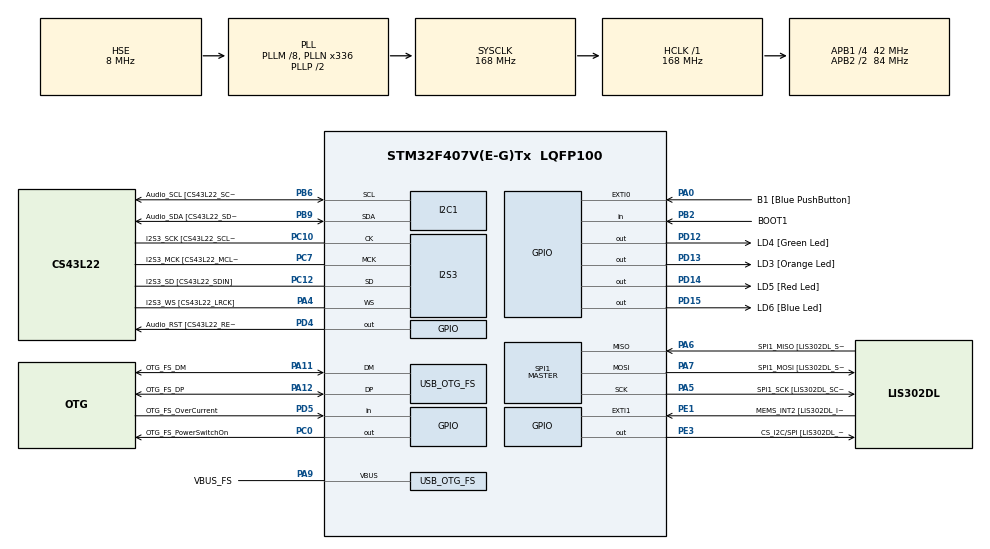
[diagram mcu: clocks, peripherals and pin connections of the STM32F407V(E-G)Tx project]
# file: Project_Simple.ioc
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I2S3.AudioFreq-Half_Duplex_Master=I2S_AUDIOFREQ_96K
I2S3.ErrorAudioFreq=-2.34 %
I2S3.ErrorAudioFreq-Half_Duplex_Master=0.8 %
I2S3.FullDuplexMode=I2S_FULLDUPLEXMODE_DISABLE
I2S3.Instance=SPI$Index
I2S3.RealAudioFreq=93.75 KHz
I2S3.RealAudioFreq-Half_Duplex_Master=96.774 KHz
I2S3.VirtualMode=I2S_MODE_MASTER
Mcu.Family=STM32F4
Mcu.Name=STM32F407V(E-G)Tx
Mcu.Package=LQFP100
NVIC.OTG_FS_IRQn=true\:0\:0\:false\:false\:true\:true\:true
NVIC.PriorityGroup=NVIC_PRIORITYGROUP_0
PA0-WKUP.GPIO_Label=B1 [Blue PushButton]
PA0-WKUP.GPIO_ModeDefaultEXTI=GPIO_MODE_EVT_RISING
PA0-WKUP.GPIO_PuPd=GPIO_NOPULL
PA0-WKUP.Signal=GPXTI0
PA10.GPIO_Label=OTG_FS_ID
PA10.GPIO_Mode=GPIO_MODE_AF_PP
PA10.GPIO_PuPd=GPIO_NOPULL
PA10.GPIO_Speed=GPIO_SPEED_FREQ_LOW
PA10.Signal=USB_OTG_FS_ID
PA11.GPIO_Label=OTG_FS_DM
PA11.GPIO_Mode=GPIO_MODE_AF_PP
PA11.GPIO_PuPd=GPIO_NOPULL
PA11.GPIO_Speed=GPIO_SPEED_FREQ_LOW
PA11.Mode=Host_Only
PA11.Signal=USB_OTG_FS_DM
PA12.GPIO_Label=OTG_FS_DP
PA12.GPIO_Mode=GPIO_MODE_AF_PP
PA12.GPIO_PuPd=GPIO_NOPULL
PA12.GPIO_Speed=GPIO_SPEED_FREQ_LOW
PA12.Mode=Host_Only
PA12.Signal=USB_OTG_FS_DP
PA13.GPIO_Label=SWDIO
PA13.Mode=Serial_Wire
PA13.Signal=SYS_JTMS-SWDIO
PA14.GPIO_Label=SWCLK
PA14.Mode=Serial_Wire
PA14.Signal=SYS_JTCK-SWCLK
PA4.GPIO_Label=I2S3_WS [CS43L22_LRCK]
PA4.GPIO_Mode=GPIO_MODE_AF_PP
PA4.GPIO_PuPd=GPIO_NOPULL
PA4.GPIO_Speed=GPIO_SPEED_FREQ_LOW
PA4.Mode=Half_Duplex_Master
PA4.Signal=I2S3_WS
PA5.GPIO_Label=SPI1_SCK [LIS302DL_SCL/SPC]
PA5.GPIO_Mode=GPIO_MODE_AF_PP
PA5.GPIO_PuPd=GPIO_NOPULL
PA5.GPIO_Speed=GPIO_SPEED_FREQ_LOW
PA5.Mode=Full_Duplex_Master
PA5.Signal=SPI1_SCK
PA6.GPIO_Label=SPI1_MISO [LIS302DL_SDO]
PA6.GPIO_Mode=GPIO_MODE_AF_PP
PA6.GPIO_PuPd=GPIO_NOPULL
PA6.GPIO_Speed=GPIO_SPEED_FREQ_LOW
PA6.Mode=Full_Duplex_Master
PA6.Signal=SPI1_MISO
PA7.GPIO_Label=SPI1_MOSI [LIS302DL_SDA/SDI/SDO]
PA7.GPIO_Mode=GPIO_MODE_AF_PP
PA7.GPIO_PuPd=GPIO_NOPULL
PA7.GPIO_Speed=GPIO_SPEED_FREQ_LOW
PA7.Mode=Full_Duplex_Master
PA7.Signal=SPI1_MOSI
PA9.GPIO_Label=VBUS_FS
PA9.GPIO_Mode=GPIO_MODE_INPUT
PA9.GPIO_PuPd=GPIO_NOPULL
PA9.Mode=Activate_VBUS
PA9.Signal=USB_OTG_FS_VBUS
PB10.GPIO_Label=CLK_IN [MP45DT02_CLK]
PB10.GPIO_Mode=GPIO_MODE_AF_PP
PB10.GPIO_PuPd=GPIO_NOPULL
PB10.GPIO_Speed=GPIO_SPEED_FREQ_LOW
PB10.Signal=I2S2_CK
PB2.GPIO_Label=BOOT1
PB2.GPIO_Mode=GPIO_MODE_INPUT
PB2.GPIO_PuPd=GPIO_NOPULL
PB2.Signal=GPIO_Input
PB3.GPIO_Label=SWO
PB3.Signal=SYS_JTDO-SWO
PB6.GPIO_Label=Audio_SCL [CS43L22_SCL]
PB6.GPIO_Mode=GPIO_MODE_AF_OD
PB6.GPIO_PuPd=GPIO_NOPULL
PB6.GPIO_Speed=GPIO_SPEED_FREQ_LOW
PB6.Mode=I2C
PB6.Signal=I2C1_SCL
PB9.GPIO_Label=Audio_SDA [CS43L22_SDA]
PB9.GPIO_Mode=GPIO_MODE_AF_OD
PB9.GPIO_PuPd=GPIO_NOPULL
PB9.GPIO_Speed=GPIO_SPEED_FREQ_LOW
PB9.Mode=I2C
PB9.Signal=I2C1_SDA
PC0.GPIO_Label=OTG_FS_PowerSwitchOn
PC0.GPIO_PuPd=GPIO_NOPULL
PC0.GPIO_Speed=GPIO_SPEED_FREQ_LOW
PC0.PinState=GPIO_PIN_SET
PC0.Signal=GPIO_Output
PC10.GPIO_Label=I2S3_SCK [CS43L22_SCLK]
PC10.GPIO_Mode=GPIO_MODE_AF_PP
PC10.GPIO_PuPd=GPIO_NOPULL
PC10.GPIO_Speed=GPIO_SPEED_FREQ_LOW
PC10.Mode=Half_Duplex_Master
PC10.Signal=I2S3_CK
PC12.GPIO_Label=I2S3_SD [CS43L22_SDIN]
PC12.GPIO_Mode=GPIO_MODE_AF_PP
PC12.GPIO_PuPd=GPIO_NOPULL
PC12.GPIO_Speed=GPIO_SPEED_FREQ_LOW
PC12.Mode=Half_Duplex_Master
PC12.Signal=I2S3_SD
PC14-OSC32_IN.GPIO_Label=PC14-OSC32_IN
PC14-OSC32_IN.Mode=LSE-External-Oscillator
PC14-OSC32_IN.Signal=RCC_OSC32_IN
PC15-OSC32_OUT.GPIO_Label=PC15-OSC32_OUT
PC15-OSC32_OUT.Mode=LSE-External-Oscillator
PC15-OSC32_OUT.Signal=RCC_OSC32_OUT
PC3.GPIO_Label=PDM_OUT [MP45DT02_DOUT]
PC3.GPIO_Mode=GPIO_MODE_AF_PP
PC3.GPIO_PuPd=GPIO_NOPULL
PC3.GPIO_Speed=GPIO_SPEED_FREQ_LOW
PC3.Signal=I2S2_SD
PC7.GPIO_Label=I2S3_MCK [CS43L22_MCLK]
PC7.GPIO_Mode=GPIO_MODE_AF_PP
PC7.GPIO_PuPd=GPIO_NOPULL
PC7.GPIO_Speed=GPIO_SPEED_FREQ_LOW
PC7.Mode=Master_Clock_Activated
PC7.Signal=I2S3_MCK
PD12.GPIO_Label=LD4 [Green Led]
PD12.GPIO_PuPd=GPIO_NOPULL
PD12.GPIO_Speed=GPIO_SPEED_FREQ_LOW
PD12.Signal=GPIO_Output
PD13.GPIO_Label=LD3 [Orange Led]
PD13.GPIO_PuPd=GPIO_NOPULL
PD13.GPIO_Speed=GPIO_SPEED_FREQ_LOW
PD13.Signal=GPIO_Output
PD14.GPIO_Label=LD5 [Red Led]
PD14.GPIO_PuPd=GPIO_NOPULL
PD14.GPIO_Speed=GPIO_SPEED_FREQ_LOW
PD14.Signal=GPIO_Output
PD15.GPIO_Label=LD6 [Blue Led]
PD15.GPIO_PuPd=GPIO_NOPULL
PD15.GPIO_Speed=GPIO_SPEED_FREQ_LOW
PD15.Signal=GPIO_Output
PD4.GPIO_Label=Audio_RST [CS43L22_RESET]
PD4.GPIO_PuPd=GPIO_NOPULL
PD4.GPIO_Speed=GPIO_SPEED_FREQ_LOW
PD4.Signal=GPIO_Output
PD5.GPIO_Label=OTG_FS_OverCurrent
PD5.GPIO_Mode=GPIO_MODE_INPUT
PD5.GPIO_PuPd=GPIO_NOPULL
PD5.Signal=GPIO_Input
PE1.GPIO_Label=MEMS_INT2 [LIS302DL_INT2]
PE1.GPIO_ModeDefaultEXTI=GPIO_MODE_EVT_RISING
PE1.GPIO_PuPd=GPIO_NOPULL
PE1.Signal=GPXTI1
PE3.GPIO_Label=CS_I2C/SPI [LIS302DL_CS_I2C/SPI]
PE3.GPIO_PuPd=GPIO_NOPULL
PE3.GPIO_Speed=GPIO_SPEED_FREQ_LOW
PE3.Signal=GPIO_Output
PH0-OSC_IN.GPIO_Label=PH0-OSC_IN
PH0-OSC_IN.Mode=HSE-External-Oscillator
PH0-OSC_IN.Signal=RCC_OSC_IN
PH1-OSC_OUT.GPIO_Label=PH1-OSC_OUT
PH1-OSC_OUT.Mode=HSE-External-Oscillator
PH1-OSC_OUT.Signal=RCC_OSC_OUT
ProjectManager.HeapSize=0x200
ProjectManager.StackSize=0x400
ProjectManager.TargetToolchain=STM32CubeIDE
RCC.48MHZClocksFreq_Value=48000000
RCC.AHBFreq_Value=168000000
RCC.APB1CLKDivider=RCC_HCLK_DIV4
RCC.APB1Freq_Value=42000000
RCC.APB1TimFreq_Value=84000000
RCC.APB2CLKDivider=RCC_HCLK_DIV2
RCC.APB2Freq_Value=84000000
RCC.APB2TimFreq_Value=168000000
RCC.CortexFreq_Value=168000000
RCC.HCLKFreq_Value=168000000
RCC.HSE_VALUE=8000000
RCC.HSI_VALUE=16000000
RCC.PLLM=8
RCC.PLLN=336
RCC.PLLQ=7
RCC.SYSCLKFreq_VALUE=168000000
RCC.SYSCLKSource=RCC_SYSCLKSOURCE_PLLCLK
RCC.VCOOutputFreq_Value=336000000
SPI1.BaudRatePrescaler-Full_Duplex_Master=SPI_BAUDRATEPRESCALER_2
SPI1.CalculateBaudRate-Full_Duplex_Master=42.0 MBits/s
SPI1.Direction=SPI_DIRECTION_2LINES
SPI1.Mode=SPI_MODE_MASTER
SPI1.Mode-Full_Duplex_Master=SPI_MODE_MASTER
SPI1.VirtualType=VM_MASTER
USB_HOST.BSP.number=1
USB_HOST.USBH_HandleTypeDef-CDC_FS=hUsbHostFS
USB_HOST.VirtualModeFS=Cdc
USB_HOST0.BSP.STBoard=false
USB_HOST0.BSP.api=Unknown
USB_HOST0.BSP.i2caddr=0
USB_HOST0.BSP.i2creg=0
USB_HOST0.BSP.instance=PC0
USB_HOST0.BSP.ip=GPIO
USB_HOST0.BSP.mode=Output
USB_HOST0.BSP.name=Drive_VBUS_FS
USB_HOST0.BSP.solution=PC0
USB_OTG_FS.VirtualMode=Host_Only
USB_OTG_FS.phy_itface=HCD_PHY_EMBEDDED
VP_USB_HOST_VS_USB_HOST_CDC_FS.Mode=CDC_FS
board=STM32F407G-DISC1

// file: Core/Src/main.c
/* USER CODE BEGIN Header */
/**
  ******************************************************************************
  * @file           : main.c
  * @brief          : Main program body
  ******************************************************************************
  * @attention
  *
  * <h2><center>&copy; Copyright (c) 2020 STMicroelectronics.
  * All rights reserved.</center></h2>
  *
  * This software component is licensed by ST under Ultimate Liberty license
  * SLA0044, the "License"; You may not use this file except in compliance with
  * the License. You may obtain a copy of the License at:
  *                             www.st.com/SLA0044
  *
  ******************************************************************************
  */
/* USER CODE END Header */

#include "main.h"
#include "usb_host.h"

I2C_HandleTypeDef hi2c1;

I2S_HandleTypeDef hi2s3;
/*### RECORDER ###*/
I2S_HandleTypeDef  hAudioInI2s;

SPI_HandleTypeDef hspi1;

void SystemClock_Config(void);
static void MX_GPIO_Init(void);
static void MX_I2C1_Init(void);
static void MX_I2S3_Init(void);
static void MX_SPI1_Init(void);
void MX_USB_HOST_Process(void);

void AudioIN_clock_config(I2S_HandleTypeDef *hi2s, uint32_t AudioFreq, void *Params);
void HAL_I2S_MspInit(I2S_HandleTypeDef *hi2s);

/* USER CODE BEGIN 0 */
uint16_t  RxBuffer[800];
void AudioIN_clock_config(I2S_HandleTypeDef *hi2s, uint32_t AudioFreq, void *Params)
{
	RCC_PeriphCLKInitTypeDef rccclkinit;
/*Enable PLLI2S clock*/
    HAL_RCCEx_GetPeriphCLKConfig(&rccclkinit);
    /* PLLI2S_VCO Input = HSE_VALUE/PLL_M = 1 Mhz */
    if ((AudioFreq & 0x7) == 0)
    {
      /* Audio frequency multiple of 8 (8/16/32/48/96/192)*/
      /* PLLI2S_VCO Output = PLLI2S_VCO Input * PLLI2SN = 192 Mhz */
      /* I2SCLK = PLLI2S_VCO Output/PLLI2SR = 192/6 = 32 Mhz */
      rccclkinit.PeriphClockSelection = RCC_PERIPHCLK_I2S;
      rccclkinit.PLLI2S.PLLI2SN = 192;
      rccclkinit.PLLI2S.PLLI2SR = 6;
      HAL_RCCEx_PeriphCLKConfig(&rccclkinit);
    }
    else
    {
      /* Other Frequency (11.025/22.500/44.100) */
      /* PLLI2S_VCO Output = PLLI2S_VCO Input * PLLI2SN = 290 Mhz */
      /* I2SCLK = PLLI2S_VCO Output/PLLI2SR = 290/2 = 145 Mhz */
      rccclkinit.PeriphClockSelection = RCC_PERIPHCLK_I2S;
      rccclkinit.PLLI2S.PLLI2SN = 290;
      rccclkinit.PLLI2S.PLLI2SR = 2;
      HAL_RCCEx_PeriphCLKConfig(&rccclkinit);
    }
}

#if 0
void HAL_I2S_MspInit(I2S_HandleTypeDef *hi2s) {

	GPIO_InitTypeDef  GPIO_InitStruct;

	//a.Enable the SPIx interface clock.
	__HAL_RCC_SPI2_CLK_ENABLE(); //clock for SPI2/I2S2 interface
	//b.I2S pins configuration:
	    //Enable the clock for the I2S GPIOs.
		__HAL_RCC_GPIOB_CLK_ENABLE();  //I2S2_CK/PB10 : is Bit clock
		//__HAL_RCC_GPIOC_CLK_ENABLE();
		//Configure these I2S pins as alternate function pull-up.
		  GPIO_InitStruct.Mode      = GPIO_MODE_AF_PP;
		  GPIO_InitStruct.Pull      = GPIO_NOPULL;
		  GPIO_InitStruct.Speed     = GPIO_SPEED_FAST;
		  // configure PB10 as I2S2_SCK pin
		  GPIO_InitStruct.Pin       = GPIO_PIN_10;
		  GPIO_InitStruct.Alternate = GPIO_AF5_SPI2;
		  HAL_GPIO_Init(GPIOB , &GPIO_InitStruct);

	//c.NVIC configuration if you need to use interrupt process (HAL_I2S_Transmit_IT() and HAL_I2S_Receive_IT() APIs).
	     //Configure the I2Sx interrupt priority.
	     //Enable the NVIC I2S IRQ handle
		  HAL_NVIC_SetPriority(SPI2_IRQn, 0x0F, 0);
		  HAL_NVIC_EnableIRQ(SPI2_IRQn);
}
#endif

/* USER CODE END 0 */

int main(void)
{

  /* MCU Configuration--------------------------------------------------------*/

  /* Reset of all peripherals, Initializes the Flash interface and the Systick. */
  HAL_Init();

  /* Configure the system clock */
  SystemClock_Config();

  /* Initialize all configured peripherals */
  MX_GPIO_Init();
  MX_I2C1_Init();
  MX_I2S3_Init();
  MX_SPI1_Init();
  //MX_USB_HOST_Init();

  /* USER CODE BEGIN 2 */
  BSP_LED_Init(LED4);
  BSP_LED_Init(LED5);
#if 0
  BSP_LED_On(LED4);
  BSP_LED_Off(LED4);
#endif

  //----------------Initialising I2S interface---------------------------

  // which I2S interface used for MEMS-Microphone ??
 /* MP45DT02(U9):  CLK <------- clkin(PB10): PB10 = I2S2_CK
  * 				DOUT------->pdmout(PC3): PC3 = I2S2_SD  ; pdm-Pulse differential modulation
 */
  hAudioInI2s.Instance = I2S2;
  //Initialising clock
  AudioIN_clock_config(&hAudioInI2s,I2S_AUDIOFREQ_16K,0);
  //Initialize the I2S low level resources by implementing the HAL_I2S_MspInit(callback)
  //check the I2S state before I2S_MspInit: Is this required??
  HAL_I2S_MspInit(&hAudioInI2s);
  // Program the Mode, Standard, Data Format, MCLK Output, Audio frequency and  Polarity using HAL_I2S_Init() function.
  //Initialise I2S_Handle and call HAL_I2S_Init.
  /* I2S2 peripheral configuration */
  hAudioInI2s.Init.AudioFreq    = I2S_AUDIOFREQ_8K;

  hAudioInI2s.Init.Standard     = I2S_STANDARD_LSB;
  hAudioInI2s.Init.DataFormat   = I2S_DATAFORMAT_16B;

  hAudioInI2s.Init.Mode         = I2S_MODE_MASTER_RX;

  hAudioInI2s.Init.ClockSource  = I2S_CLOCK_PLL;
  hAudioInI2s.Init.CPOL         = I2S_CPOL_HIGH;
  hAudioInI2s.Init.MCLKOutput   = I2S_MCLKOUTPUT_DISABLE;

  hAudioInI2s.IrqHandlerISR = HAL_I2S_IRQHandler;
  hAudioInI2s.pRxBuffPtr = RxBuffer;

  //First disable I2S : needed??
  __HAL_I2S_DISABLE(&hAudioInI2s);
  //HAL_I2S_Init(hAudioInI2s);
  if(HAL_I2S_Init(&hAudioInI2s) != HAL_OK)
   {
     return -1;
   }
  __HAL_I2S_ENABLE_IT(&hAudioInI2s, (I2S_IT_RXNE | I2S_IT_ERR));
  /* Check if the I2S is already enabled */
   //if ((&hAudioInI2s->Instance->I2SCFGR & SPI_I2SCFGR_I2SE) != SPI_I2SCFGR_I2SE)
   {
     /* Enable I2S peripheral */
     __HAL_I2S_ENABLE(&hAudioInI2s);
   }
  /* USER CODE END 2 */

  /* Infinite loop */
  while (1)
  {
   // MX_USB_HOST_Process();

    /* USER CODE BEGIN 3 */
//	  BSP_LED_Toggle(LED5);
  }
  /* USER CODE END 3 */
}

void SystemClock_Config(void)
{
  RCC_OscInitTypeDef RCC_OscInitStruct = {0};
  RCC_ClkInitTypeDef RCC_ClkInitStruct = {0};
  RCC_PeriphCLKInitTypeDef PeriphClkInitStruct = {0};

  /** Configure the main internal regulator output voltage
  */
  __HAL_RCC_PWR_CLK_ENABLE();
  __HAL_PWR_VOLTAGESCALING_CONFIG(PWR_REGULATOR_VOLTAGE_SCALE1);
  /** Initializes the CPU, AHB and APB busses clocks
  */
  RCC_OscInitStruct.OscillatorType = RCC_OSCILLATORTYPE_HSE;
  RCC_OscInitStruct.HSEState = RCC_HSE_ON;
  RCC_OscInitStruct.PLL.PLLState = RCC_PLL_ON;
  RCC_OscInitStruct.PLL.PLLSource = RCC_PLLSOURCE_HSE;
  RCC_OscInitStruct.PLL.PLLM = 8;
  RCC_OscInitStruct.PLL.PLLN = 336;
  RCC_OscInitStruct.PLL.PLLP = RCC_PLLP_DIV2;
  RCC_OscInitStruct.PLL.PLLQ = 7;
  if (HAL_RCC_OscConfig(&RCC_OscInitStruct) != HAL_OK)
  {
    Error_Handler();
  }
  /** Initializes the CPU, AHB and APB busses clocks
  */
  RCC_ClkInitStruct.ClockType = RCC_CLOCKTYPE_HCLK|RCC_CLOCKTYPE_SYSCLK
                              |RCC_CLOCKTYPE_PCLK1|RCC_CLOCKTYPE_PCLK2;
  RCC_ClkInitStruct.SYSCLKSource = RCC_SYSCLKSOURCE_PLLCLK;
  RCC_ClkInitStruct.AHBCLKDivider = RCC_SYSCLK_DIV1;
  RCC_ClkInitStruct.APB1CLKDivider = RCC_HCLK_DIV4;
  RCC_ClkInitStruct.APB2CLKDivider = RCC_HCLK_DIV2;

  if (HAL_RCC_ClockConfig(&RCC_ClkInitStruct, FLASH_LATENCY_5) != HAL_OK)
  {
    Error_Handler();
  }
  PeriphClkInitStruct.PeriphClockSelection = RCC_PERIPHCLK_I2S;
  PeriphClkInitStruct.PLLI2S.PLLI2SN = 192;
  PeriphClkInitStruct.PLLI2S.PLLI2SR = 2;
  if (HAL_RCCEx_PeriphCLKConfig(&PeriphClkInitStruct) != HAL_OK)
  {
    Error_Handler();
  }
}

static void MX_I2C1_Init(void)
{

  hi2c1.Instance = I2C1;
  hi2c1.Init.ClockSpeed = 100000;
  hi2c1.Init.DutyCycle = I2C_DUTYCYCLE_2;
  hi2c1.Init.OwnAddress1 = 0;
  hi2c1.Init.AddressingMode = I2C_ADDRESSINGMODE_7BIT;
  hi2c1.Init.DualAddressMode = I2C_DUALADDRESS_DISABLE;
  hi2c1.Init.OwnAddress2 = 0;
  hi2c1.Init.GeneralCallMode = I2C_GENERALCALL_DISABLE;
  hi2c1.Init.NoStretchMode = I2C_NOSTRETCH_DISABLE;
  if (HAL_I2C_Init(&hi2c1) != HAL_OK)
  {
    Error_Handler();
  }

}

static void MX_I2S3_Init(void)
{

  hi2s3.Instance = SPI3;
  hi2s3.Init.Mode = I2S_MODE_MASTER_TX;
  hi2s3.Init.Standard = I2S_STANDARD_PHILIPS;
  hi2s3.Init.DataFormat = I2S_DATAFORMAT_16B;
  hi2s3.Init.MCLKOutput = I2S_MCLKOUTPUT_ENABLE;
  hi2s3.Init.AudioFreq = I2S_AUDIOFREQ_96K;
  hi2s3.Init.CPOL = I2S_CPOL_LOW;
  hi2s3.Init.ClockSource = I2S_CLOCK_PLL;
  hi2s3.Init.FullDuplexMode = I2S_FULLDUPLEXMODE_DISABLE;
  if (HAL_I2S_Init(&hi2s3) != HAL_OK)
  {
    Error_Handler();
  }

}

static void MX_SPI1_Init(void)
{

  /* SPI1 parameter configuration*/
  hspi1.Instance = SPI1;
  hspi1.Init.Mode = SPI_MODE_MASTER;
  hspi1.Init.Direction = SPI_DIRECTION_2LINES;
  hspi1.Init.DataSize = SPI_DATASIZE_8BIT;
  hspi1.Init.CLKPolarity = SPI_POLARITY_LOW;
  hspi1.Init.CLKPhase = SPI_PHASE_1EDGE;
  hspi1.Init.NSS = SPI_NSS_SOFT;
  hspi1.Init.BaudRatePrescaler = SPI_BAUDRATEPRESCALER_2;
  hspi1.Init.FirstBit = SPI_FIRSTBIT_MSB;
  hspi1.Init.TIMode = SPI_TIMODE_DISABLE;
  hspi1.Init.CRCCalculation = SPI_CRCCALCULATION_DISABLE;
  hspi1.Init.CRCPolynomial = 10;
  if (HAL_SPI_Init(&hspi1) != HAL_OK)
  {
    Error_Handler();
  }

}

static void MX_GPIO_Init(void)
{
  GPIO_InitTypeDef GPIO_InitStruct = {0};

  /* GPIO Ports Clock Enable */
  __HAL_RCC_GPIOE_CLK_ENABLE();
  __HAL_RCC_GPIOC_CLK_ENABLE();
  __HAL_RCC_GPIOH_CLK_ENABLE();
  __HAL_RCC_GPIOA_CLK_ENABLE();
  __HAL_RCC_GPIOB_CLK_ENABLE();
  __HAL_RCC_GPIOD_CLK_ENABLE();

  /*Configure GPIO pin Output Level */
  HAL_GPIO_WritePin(CS_I2C_SPI_GPIO_Port, CS_I2C_SPI_Pin, GPIO_PIN_RESET);

  /*Configure GPIO pin Output Level */
  HAL_GPIO_WritePin(OTG_FS_PowerSwitchOn_GPIO_Port, OTG_FS_PowerSwitchOn_Pin, GPIO_PIN_SET);

  /*Configure GPIO pin Output Level */
  HAL_GPIO_WritePin(GPIOD, LD4_Pin|LD3_Pin|LD5_Pin|LD6_Pin
                          |Audio_RST_Pin, GPIO_PIN_RESET);

  /*Configure GPIO pin : CS_I2C_SPI_Pin */
  GPIO_InitStruct.Pin = CS_I2C_SPI_Pin;
  GPIO_InitStruct.Mode = GPIO_MODE_OUTPUT_PP;
  GPIO_InitStruct.Pull = GPIO_NOPULL;
  GPIO_InitStruct.Speed = GPIO_SPEED_FREQ_LOW;
  HAL_GPIO_Init(CS_I2C_SPI_GPIO_Port, &GPIO_InitStruct);

  /*Configure GPIO pin : OTG_FS_PowerSwitchOn_Pin */
  GPIO_InitStruct.Pin = OTG_FS_PowerSwitchOn_Pin;
  GPIO_InitStruct.Mode = GPIO_MODE_OUTPUT_PP;
  GPIO_InitStruct.Pull = GPIO_NOPULL;
  GPIO_InitStruct.Speed = GPIO_SPEED_FREQ_LOW;
  HAL_GPIO_Init(OTG_FS_PowerSwitchOn_GPIO_Port, &GPIO_InitStruct);

  /*Configure GPIO pin : PDM_OUT_Pin */
  GPIO_InitStruct.Pin = PDM_OUT_Pin;
  GPIO_InitStruct.Mode = GPIO_MODE_AF_PP;
  GPIO_InitStruct.Pull = GPIO_NOPULL;
  GPIO_InitStruct.Speed = GPIO_SPEED_FREQ_LOW;
  GPIO_InitStruct.Alternate = GPIO_AF5_SPI2;
  HAL_GPIO_Init(PDM_OUT_GPIO_Port, &GPIO_InitStruct);

  /*Configure GPIO pin : B1_Pin */
  GPIO_InitStruct.Pin = B1_Pin;
  GPIO_InitStruct.Mode = GPIO_MODE_EVT_RISING;
  GPIO_InitStruct.Pull = GPIO_NOPULL;
  HAL_GPIO_Init(B1_GPIO_Port, &GPIO_InitStruct);

  /*Configure GPIO pin : BOOT1_Pin */
  GPIO_InitStruct.Pin = BOOT1_Pin;
  GPIO_InitStruct.Mode = GPIO_MODE_INPUT;
  GPIO_InitStruct.Pull = GPIO_NOPULL;
  HAL_GPIO_Init(BOOT1_GPIO_Port, &GPIO_InitStruct);

  /*Configure GPIO pin : CLK_IN_Pin */
  GPIO_InitStruct.Pin = CLK_IN_Pin;
  GPIO_InitStruct.Mode = GPIO_MODE_AF_PP;
  GPIO_InitStruct.Pull = GPIO_NOPULL;
  GPIO_InitStruct.Speed = GPIO_SPEED_FREQ_LOW;
  GPIO_InitStruct.Alternate = GPIO_AF5_SPI2;
  HAL_GPIO_Init(CLK_IN_GPIO_Port, &GPIO_InitStruct);

  /*Configure GPIO pins : LD4_Pin LD3_Pin LD5_Pin LD6_Pin
                           Audio_RST_Pin */
  GPIO_InitStruct.Pin = LD4_Pin|LD3_Pin|LD5_Pin|LD6_Pin
                          |Audio_RST_Pin;
  GPIO_InitStruct.Mode = GPIO_MODE_OUTPUT_PP;
  GPIO_InitStruct.Pull = GPIO_NOPULL;
  GPIO_InitStruct.Speed = GPIO_SPEED_FREQ_LOW;
  HAL_GPIO_Init(GPIOD, &GPIO_InitStruct);

  /*Configure GPIO pin : OTG_FS_OverCurrent_Pin */
  GPIO_InitStruct.Pin = OTG_FS_OverCurrent_Pin;
  GPIO_InitStruct.Mode = GPIO_MODE_INPUT;
  GPIO_InitStruct.Pull = GPIO_NOPULL;
  HAL_GPIO_Init(OTG_FS_OverCurrent_GPIO_Port, &GPIO_InitStruct);

  /*Configure GPIO pin : MEMS_INT2_Pin */
  GPIO_InitStruct.Pin = MEMS_INT2_Pin;
  GPIO_InitStruct.Mode = GPIO_MODE_EVT_RISING;
  GPIO_InitStruct.Pull = GPIO_NOPULL;
  HAL_GPIO_Init(MEMS_INT2_GPIO_Port, &GPIO_InitStruct);

}

void Error_Handler(void)
{
}

/************************ (C) COPYRIGHT STMicroelectronics *****END OF FILE****/
